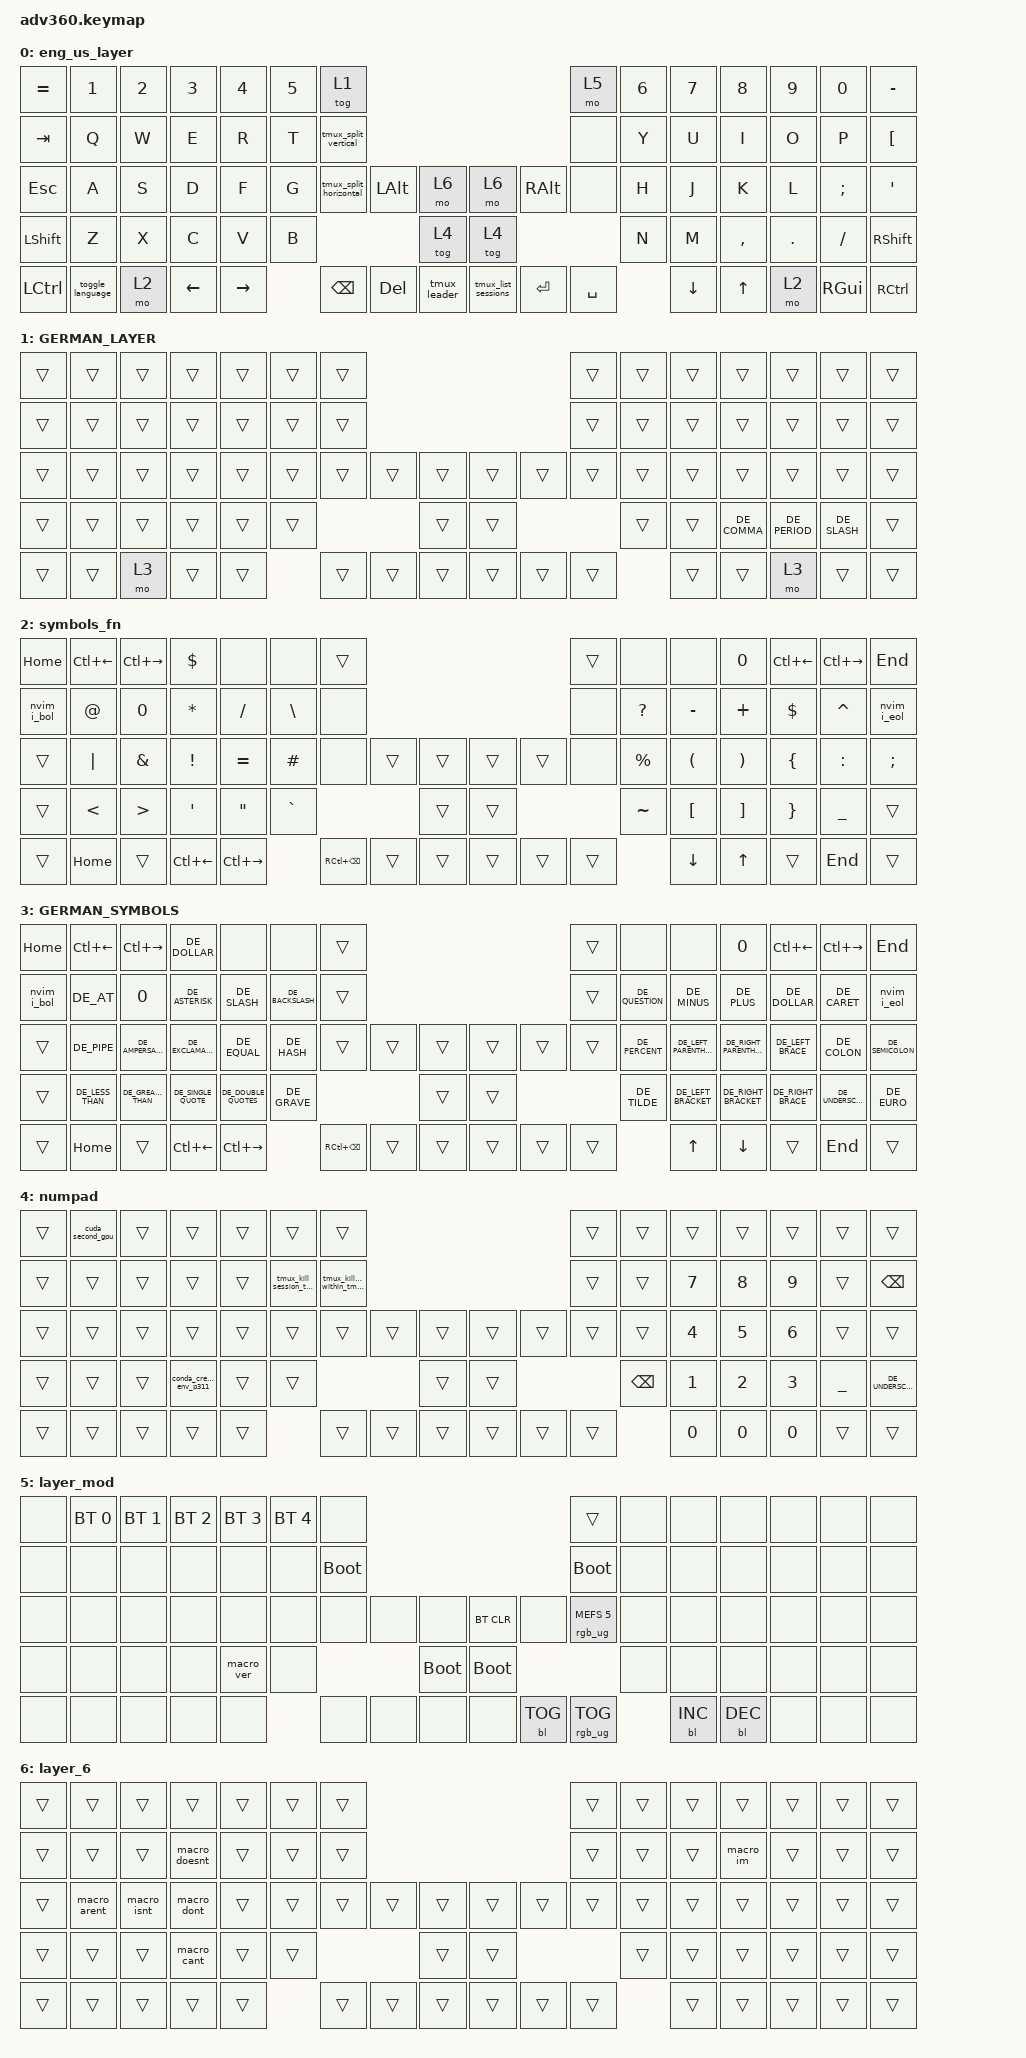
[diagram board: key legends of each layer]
/*
 * Copyright (c) 2020 The ZMK Contributors
 *
 * SPDX-License-Identifier: MIT
 */
/* THIS FILE WAS GENERATED!
 *
 * This file was generated automatically. You may or may not want to
 * edit it directly.
 */

#include "keys_de.h"
#include <behaviors.dtsi>
#include <dt-bindings/zmk/backlight.h>
#include <dt-bindings/zmk/bt.h>
#include <dt-bindings/zmk/keys.h>
#include <dt-bindings/zmk/rgb.h>

/ {
    behaviors {
        #include "macros.dtsi"
    #include "version.dtsi"

        hm: homerow_mods {
            compatible = "zmk,behavior-hold-tap";
            label = "HOMEROW_MODS";
            #binding-cells = <2>;
            tapping-term-ms = <200>;
            quick_tap_ms = <175>;
            flavor = "tap-preferred";
            bindings = <&kp>, <&kp>;
        };
    };

    macros {
        macro_a_umlaut: macro_a_umlaut {
            compatible = "zmk,behavior-macro";
            #binding-cells = <0>;
            bindings = <&kp LA(U) &kp A>;
            label = "MACRO_A_UMLAUT";
        };

        macro_o_umlaut: new_macro {
            compatible = "zmk,behavior-macro";
            #binding-cells = <0>;
            bindings = <&kp LA(U) &kp O>;
            label = "NEW_MACRO";
        };

        MACRO_A_UMLAUT_CAPITAL: MACRO_A_UMLAUT_CAPITAL {
            compatible = "zmk,behavior-macro";
            #binding-cells = <0>;
            bindings = <&kp LA(U) &kp LS(A)>;
            label = "MACRO_A_UMLAUT_CAPITAL";
        };

        macro_u_umlaut: macro_u_umlaut {
            compatible = "zmk,behavior-macro";
            #binding-cells = <0>;
            bindings = <&kp LA(U) &kp U>;
            label = "MACRO_U_UMLAUT";
        };

        MACRO_O_UMLAUT_CAPITAL: MACRO_O_UMLAUT_CAPITAL {
            compatible = "zmk,behavior-macro";
            #binding-cells = <0>;
            bindings = <&kp LA(U) &kp LS(O)>;
            label = "MACRO_O_UMLAUT_CAPITAL";
        };

        MACRO_U_UMLAUT_CAPITAL: MACRO_U_UMLAUT_CAPITAL {
            compatible = "zmk,behavior-macro";
            #binding-cells = <0>;
            bindings = <&kp LA(U) &kp LS(U)>;
            label = "MACRO_U_UMLAUT_CAPITAL";
        };

        tmux_leader: tmux_leader {
            compatible = "zmk,behavior-macro";
            #binding-cells = <0>;
            bindings = <&kp LC(B)>;
            label = "TMUX_LEADER";
        };

        tmux_split_horizontal: tmux_split_horizontal {
            compatible = "zmk,behavior-macro";
            #binding-cells = <0>;
            bindings = <&kp LC(B) &kp PERCENT>;
            label = "TMUX_SPLIT_HORIZONTAL";
        };

        tmux_split_vertical: tmux_split_vertical {
            compatible = "zmk,behavior-macro";
            #binding-cells = <0>;
            bindings = <&kp LC(B) &kp DOUBLE_QUOTES>;
            label = "TMUX_SPLIT_VERTICAL";
        };

        tmux_change_window: tmux_change_window {
            compatible = "zmk,behavior-macro";
            #binding-cells = <0>;
            bindings = <&kp LC(B) &kp N>;
            label = "TMUX_CHANGE_WINDOW";
        };

        tmux_detach: tmux_detach {
            compatible = "zmk,behavior-macro";
            #binding-cells = <0>;
            bindings = <&kp LC(B) &kp D>;
            label = "TMUX_DETACH";
        };

        tmux_list_sessions: tmux_list_sessions {
            compatible = "zmk,behavior-macro";
            #binding-cells = <0>;
            bindings = <&kp LC(B) &kp S>;
            label = "TMUX_LIST_SESSIONS";
        };

        tmux_kill_sessions_within_tmux: tmux_kill_sessions_within_tmux {
            compatible = "zmk,behavior-macro";
            #binding-cells = <0>;
            bindings = <&kp LC(B) &kp COLON &kp K &kp I &kp L &kp L &kp MINUS &kp S &kp E &kp S &kp S &kp I &kp O &kp N &kp SPACE &kp MINUS &kp A>;
            label = "TMUX_KILL_SESSIONS_WITHIN_TMUX";
        };

        tmux_kill_session_terminal: tmux_kill_session_terminal {
            compatible = "zmk,behavior-macro";
            #binding-cells = <0>;
            bindings = <&kp T &kp M &kp U &kp X &kp SPACE &kp K &kp I &kp L &kp L &kp MINUS &kp S &kp E &kp R &kp V &kp E &kp R>;
            label = "TMUX_KILL_SESSION_TERMINAL";
        };

        conda_create_env_p311: conda_create_env_p311 {
            compatible = "zmk,behavior-macro";
            #binding-cells = <0>;
            bindings = <&none &kp C &kp O &kp N &kp D &kp A &kp SPACE &kp C &kp R &kp E &kp A &kp T &kp E &kp SPACE &kp MINUS &kp N &kp SPACE &kp SPACE &kp P &kp Y &kp T &kp H &kp O &kp N &kp EQUAL &kp N3 &kp DOT &kp N1 &kp N1 &kp LEFT &kp LEFT_ARROW &kp LEFT &kp LEFT &kp LEFT &kp LEFT &kp LEFT &kp LEFT &kp LEFT &kp LEFT &kp LEFT &kp LEFT &kp SPACE>;
            label = "CONDA_CREATE_ENV_P311";
        };

        cuda_second_gpu: cuda_second_gpu {
            compatible = "zmk,behavior-macro";
            #binding-cells = <0>;
            bindings = <&none &kp LS(C) &kp LS(U) &kp LS(D) &kp LS(A) &kp UNDER &kp LS(V) &kp LS(I) &kp LS(S) &kp LS(I) &kp LS(B) &kp LS(L) &kp LS(E) &kp UNDER &kp LS(D) &kp LS(E) &kp LS(V) &kp LS(I) &kp LS(C) &kp LS(E) &kp LS(S) &kp EQUAL &kp N1>;
            label = "CUDA_SECOND_GPU";
        };

        nvim_i_eol: nvim_i_eol {
            compatible = "zmk,behavior-macro";
            #binding-cells = <0>;
            bindings = <&kp ESCAPE &kp LS(A)>;
            label = "NVIM_I_EOL";
        };

        nvim_i_bol: nvim_i_bol {
            compatible = "zmk,behavior-macro";
            #binding-cells = <0>;
            bindings = <&kp LS(ESCAPE) &kp N0 &kp I>;
            label = "NVIM_I_BOL";
        };

        toggle_language: toggle_language {
            compatible = "zmk,behavior-macro";
            #binding-cells = <0>;
            bindings = <&tog 1 &kp LGUI>;
            label = "TOGGLE_LANGUAGE";
        };

        macro_dont: macro_dont {
            compatible = "zmk,behavior-macro";
            #binding-cells = <0>;
            bindings = <&kp D &kp O &kp N &kp SQT &kp T>;
            label = "MACRO_DONT";
        };

        macro_doesnt: macro_doesnt {
            compatible = "zmk,behavior-macro";
            #binding-cells = <0>;
            bindings = <&kp D &kp O &kp E &kp S &kp N &kp SQT &kp T>;
            label = "MACRO_DOESNT";
        };

        macro_cant: macro_cant {
            compatible = "zmk,behavior-macro";
            #binding-cells = <0>;
            bindings = <&kp C &kp A &kp N &kp SQT &kp T>;
            label = "MACRO_CANT";
        };

        macro_isnt: macro_isnt {
            compatible = "zmk,behavior-macro";
            #binding-cells = <0>;
            bindings = <&kp I &kp S &kp N &kp SQT &kp T>;
            label = "MACRO_ISNT";
        };

        macro_im: macro_im {
            compatible = "zmk,behavior-macro";
            #binding-cells = <0>;
            bindings = <&kp LS(I) &kp SQT &kp M>;
            label = "MACRO_IM";
        };

        macro_arent: macro_arent {
            compatible = "zmk,behavior-macro";
            #binding-cells = <0>;
            bindings = <&kp A &kp R &kp E &kp N &kp SQT &kp T>;
            label = "MACRO_ARENT";
        };

        macro_well: macro_well {
            compatible = "zmk,behavior-macro";
            #binding-cells = <0>;
            bindings = <&kp W &kp E &kp SQT &kp L &kp L>;
            label = "MACRO_WELL";
        };

        macro_lets: macro_lets {
            compatible = "zmk,behavior-macro";
            #binding-cells = <0>;
            bindings = <&kp L &kp E &kp T &kp SQT &kp S>;
            label = "MACRO_LETS";
        };
    };

    keymap {
        compatible = "zmk,keymap";

        eng_us_layer {
            bindings = <
&kp EQUAL  &kp N1            &kp N2  &kp N3    &kp N4     &kp N5  &tog 1                                                                                    &mo 5      &kp N6  &kp N7          &kp N8     &kp N9   &kp N0    &kp MINUS
&kp TAB    &kp Q             &kp W   &kp E     &kp R      &kp T   &tmux_split_vertical                                                                      &none      &kp Y   &kp U           &kp I      &kp O    &kp P     &kp LEFT_BRACKET
&kp ESC    &kp A             &kp S   &kp D     &kp F      &kp G   &tmux_split_horizontal  &kp LALT    &mo 6             &mo 6                &kp RIGHT_ALT  &none      &kp H   &kp J           &kp K      &kp L    &kp SEMI  &kp SQT
&kp LSHFT  &kp Z             &kp X   &kp C     &kp V      &kp B                                       &tog 4            &tog 4                                         &kp N   &kp M           &kp COMMA  &kp DOT  &kp FSLH  &kp RSHFT
&kp LCTRL  &toggle_language  &mo 2   &kp LEFT  &kp RIGHT          &kp BSPC                &kp DELETE  &tmux_leader      &tmux_list_sessions  &kp ENTER      &kp SPACE          &kp DOWN_ARROW  &kp UP     &mo 2    &kp RGUI  &kp RCTRL
            >;
        };

        GERMAN_LAYER {
            bindings = <
&trans  &trans  &trans  &trans  &trans  &trans  &trans                                      &trans  &trans  &trans  &trans        &trans         &trans        &trans
&trans  &trans  &trans  &trans  &trans  &trans  &trans                                      &trans  &trans  &trans  &trans        &trans         &trans        &trans
&trans  &trans  &trans  &trans  &trans  &trans  &trans  &trans  &trans      &trans  &trans  &trans  &trans  &trans  &trans        &trans         &trans        &trans
&trans  &trans  &trans  &trans  &trans  &trans                  &trans      &trans                  &trans  &trans  &kp DE_COMMA  &kp DE_PERIOD  &kp DE_SLASH  &trans
&trans  &trans  &mo 3   &trans  &trans          &trans  &trans  &trans      &trans  &trans  &trans          &trans  &trans        &mo 3          &trans        &trans
            >;
        };

        symbols_fn {
            bindings = <
&kp HOME     &kp LC(LEFT)  &kp LC(RIGHT)     &kp DOLLAR          &none                &none          &trans                                                 &trans  &none         &none                 &kp N0                 &kp LC(LEFT)     &kp LC(RIGHT)  &kp END
&nvim_i_bol  &kp AT        &kp N0            &kp ASTRK           &kp SLASH            &kp BACKSLASH  &none                                                  &none   &kp QUESTION  &kp MINUS             &kp PLUS               &kp DOLLAR       &kp CARET      &nvim_i_eol
&trans       &kp PIPE      &kp AMPERSAND     &kp EXCL            &kp EQUAL            &kp HASH       &none              &trans  &trans      &trans  &trans  &none   &kp PERCENT   &kp LEFT_PARENTHESIS  &kp RIGHT_PARENTHESIS  &kp LEFT_BRACE   &kp COLON      &kp SEMICOLON
&trans       &kp LT        &kp GREATER_THAN  &kp SQT             &kp DOUBLE_QUOTES    &kp GRAVE                                 &trans      &trans                  &kp TILDE     &kp LEFT_BRACKET      &kp RIGHT_BRACKET      &kp RIGHT_BRACE  &kp UNDER      &trans
&trans       &kp HOME      &trans            &kp LC(LEFT_ARROW)  &kp LC(RIGHT_ARROW)                 &kp RC(BACKSPACE)  &trans  &trans      &trans  &trans  &trans                &kp DOWN_ARROW        &kp UP_ARROW           &trans           &kp END        &trans
            >;
        };

        GERMAN_SYMBOLS {
            bindings = <
&kp HOME     &kp LC(LEFT_ARROW)  &kp LC(RIGHT)        &kp DE_DOLLAR        &none                 &none             &trans                                                 &trans  &none            &none                    &kp N0                    &kp LC(LEFT)        &kp LC(RIGHT)      &kp END
&nvim_i_bol  &kp DE_AT           &kp N0               &kp DE_ASTERISK      &kp DE_SLASH          &kp DE_BACKSLASH  &trans                                                 &trans  &kp DE_QUESTION  &kp DE_MINUS             &kp DE_PLUS               &kp DE_DOLLAR       &kp DE_CARET       &nvim_i_eol
&trans       &kp DE_PIPE         &kp DE_AMPERSAND     &kp DE_EXCLAMATION   &kp DE_EQUAL          &kp DE_HASH       &trans             &trans  &trans      &trans  &trans  &trans  &kp DE_PERCENT   &kp DE_LEFT_PARENTHESIS  &kp DE_RIGHT_PARENTHESIS  &kp DE_LEFT_BRACE   &kp DE_COLON       &kp DE_SEMICOLON
&trans       &kp DE_LESS_THAN    &kp DE_GREATER_THAN  &kp DE_SINGLE_QUOTE  &kp DE_DOUBLE_QUOTES  &kp DE_GRAVE                                 &trans      &trans                  &kp DE_TILDE     &kp DE_LEFT_BRACKET      &kp DE_RIGHT_BRACKET      &kp DE_RIGHT_BRACE  &kp DE_UNDERSCORE  &kp DE_EURO
&trans       &kp HOME            &trans               &kp LC(LEFT)         &kp LC(RIGHT)                           &kp RC(BACKSPACE)  &trans  &trans      &trans  &trans  &trans                   &kp UP                   &kp DOWN_ARROW            &trans              &kp END            &trans
            >;
        };

        numpad {
            bindings = <
&trans  &cuda_second_gpu  &trans  &trans                  &trans  &trans                       &trans                                                               &trans  &trans         &trans        &trans        &trans  &trans     &trans
&trans  &trans            &trans  &trans                  &trans  &tmux_kill_session_terminal  &tmux_kill_sessions_within_tmux                                      &trans  &trans         &kp N7        &kp N8        &kp N9  &trans     &kp BACKSPACE
&trans  &trans            &trans  &trans                  &trans  &trans                       &trans                           &trans  &trans      &trans  &trans  &trans  &trans         &kp NUMBER_4  &kp NUMBER_5  &kp N6  &trans     &trans
&trans  &trans            &trans  &conda_create_env_p311  &trans  &trans                                                                &trans      &trans                  &kp BACKSPACE  &kp N1        &kp N2        &kp N3  &kp UNDER  &kp DE_UNDERSCORE
&trans  &trans            &trans  &trans                  &trans                               &trans                           &trans  &trans      &trans  &trans  &trans                 &kp N0        &kp N0        &kp N0  &trans     &trans
            >;
        };

        layer_mod {
            bindings = <
&none  &bt BT_SEL 0  &bt BT_SEL 1  &bt BT_SEL 2  &bt BT_SEL 3  &bt BT_SEL 4  &none                                                         &trans                  &none  &none       &none       &none  &none  &none
&none  &none         &none         &none         &none         &none         &bootloader                                                   &bootloader             &none  &none       &none       &none  &none  &none
&none  &none         &none         &none         &none         &none         &none        &none  &none            &bt BT_CLR   &none       &rgb_ug RGB_MEFS_CMD 5  &none  &none       &none       &none  &none  &none
&none  &none         &none         &none         &macro_ver    &none                             &bootloader      &bootloader                                      &none  &none       &none       &none  &none  &none
&none  &none         &none         &none         &none                       &none        &none  &none            &none        &bl BL_TOG  &rgb_ug RGB_TOG                &bl BL_INC  &bl BL_DEC  &none  &none  &none
            >;
        };

        layer_6 {
            bindings = <
&trans  &trans        &trans       &trans         &trans  &trans  &trans                                      &trans  &trans  &trans  &trans     &trans  &trans  &trans
&trans  &trans        &trans       &macro_doesnt  &trans  &trans  &trans                                      &trans  &trans  &trans  &macro_im  &trans  &trans  &trans
&trans  &macro_arent  &macro_isnt  &macro_dont    &trans  &trans  &trans  &trans  &trans      &trans  &trans  &trans  &trans  &trans  &trans     &trans  &trans  &trans
&trans  &trans        &trans       &macro_cant    &trans  &trans                  &trans      &trans                  &trans  &trans  &trans     &trans  &trans  &trans
&trans  &trans        &trans       &trans         &trans          &trans  &trans  &trans      &trans  &trans  &trans          &trans  &trans     &trans  &trans  &trans
            >;
        };
    };
};
